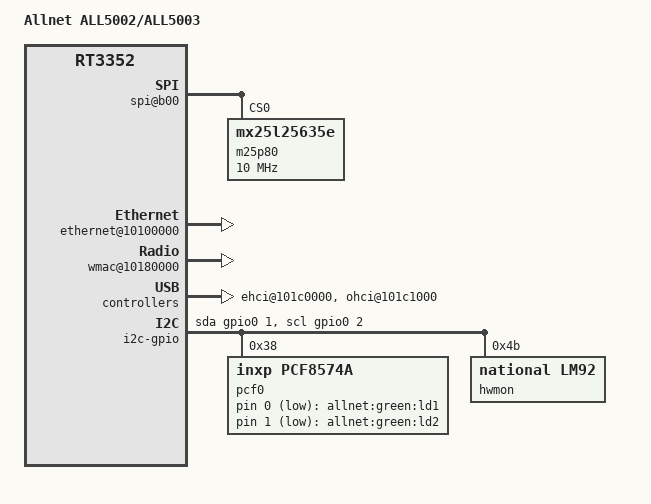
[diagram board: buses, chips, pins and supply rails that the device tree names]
/dts-v1/;

/include/ "rt3352.dtsi"

/ {
	#address-cells = <1>;
	#size-cells = <1>;
	compatible = "ALL5002", "ralink,rt3352-soc";
	model = "Allnet ALL5002/ALL5003";

	memorydetect {
		ralink,memory = <0x0 0x200000 0x10000000>;
	};

	chosen {
		bootargs = "console=ttyS0,57600 mtdparts=spi0.0:192k(u-boot)ro,64k(u-boot-env)ro,64k(factory)ro,32448k@0x50000(firmware)";
	};

	palmbus@10000000 {
		sysc@0 {
			ralink,pinmmux = "spi", "uartlite", "jtag", "mdio", "sdram", "rgmii";
			ralink,gpiomux = "i2c";
			ralink,uartmux = "gpio";
			ralink,wdtmux = <1>;
		};

		gpio0: gpio@600 {
			status = "okay";
		};

		spi@b00 {
			status = "okay";
			m25p80@0 {
				#address-cells = <1>;
				#size-cells = <1>;
				compatible = "mx25l25635e";
				reg = <0 0>;
				linux,modalias = "m25p80", "mx25l25635e";
				spi-max-frequency = <10000000>;
			};
		};
	};

	ethernet@10100000 {
		status = "okay";
	};

	esw@10110000 {
		status = "okay";
		ralink,portmap = <0x3f>;
	};

	wmac@10180000 {
		status = "okay";
	};

	ehci@101c0000 {
		status = "okay";
	};

	ohci@101c1000 {
		status = "okay";
	};

	i2c-gpio {
		compatible = "i2c-gpio";

		gpios = <&gpio0 1 0 &gpio0 2 0>;
		i2c-gpio,delay-us = <10>;

		pcf0: iexp@38 {
			#gpio-cells = <2>;
			compatible = "inxp,pcf8574a";
			reg = <0x38>;
			gpio-controller;
		};

		hwmon@4b {
			compatible = "national,lm92";
			reg = <0x4b>;
		};
	};

	gpio-leds {
		compatible = "gpio-leds";
		ld1 {
			label = "allnet:green:ld1";
			gpios = <&pcf0 0 1>;
		};
		ld2 {
			label = "allnet:green:ld2";
			gpios = <&pcf0 1 1>;
		};
	};
};
